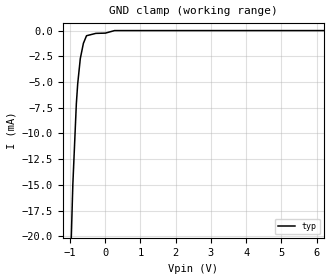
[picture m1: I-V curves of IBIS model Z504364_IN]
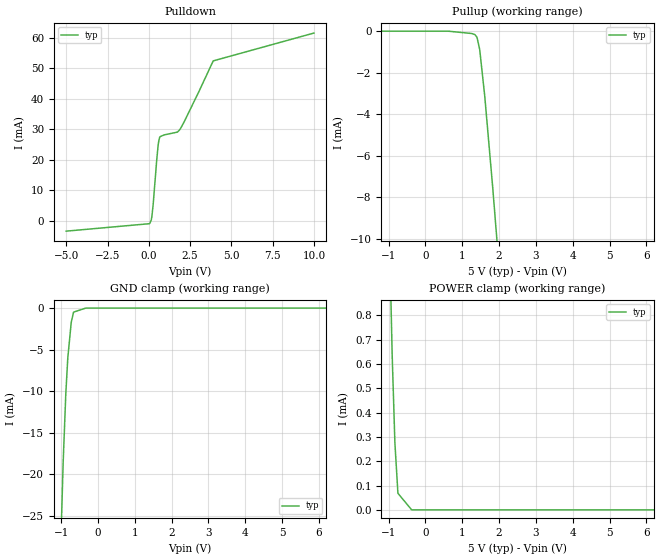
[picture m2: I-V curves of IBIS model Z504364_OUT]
| YOU ARE ONLY AUTHORIZED TO USE THIS SOFTWARE
| ACCORDING TO LICENSOR'S LICENSE RESTRICTIONS.
[IBIS Ver] 3.1
[File Name] sn54ls109aj.ibs
[File Rev] 2.0
[Source] Measured and created by ICX Technology
[Date] Friday 7/14/00 9:08:13 AM
[Copyright]
| (C) COPYRIGHT 1993-2000
| MENTOR GRAPHICS CORPORATION
| ICX STANDARD LIBRARY, ICX PROJECT MODELING,
| ICX CUSTOM MODELING, ICX VENDOR MODEL
| ALL RIGHTS RESERVED.
| THE FOLLOWING ARE TRADEMARKS OR SERVICE MARKS OF
| MENTOR GRAPHICS CORPORATION:ICX (R), ICX STANDARD
| LIBRARY(R), ICX PROJECT MODELING(R), ICX CUSTOM
| MODELING(R), qualityIBIS(TM), MODELVIEWER(TM),
| AND MODELEDITOR(TM)
| ALL COPIES OF SOFTWARE, INCLUDING BUT NOT LIMITED TO
| ANY MODIFICATIONS, ENHANCEMENTS OR DERIVATIVE WORKS,
| MUST CONTAIN ALL MENTOR GRAPHICS CORPORATION'S
| NOTICES AND LEGENDS, INCLUDING THOSE EMBEDDED IN
| SOFTWARE AND THOSE AFFIXED TO SOFTWARE MEDIUM
| AND CONTAINER, AS RECEIVED FROM MENTOR GRAPHICS
| CORPORATION.
|  ZAP Model Builder 2.7
[Component] SN54LS109AJ
[Manufacturer] OnSemiconductor
[Package]
| variable   typ   min   max
R_pkg  .212ohms NA NA
L_pkg  4.758nH NA NA
C_pkg  1.944pF NA NA
[Pin] signal_name  model_name  R_pin  L_pin C_pin
1 _CLR Z504364_IN .224 7.258n 2.683p
2 J Z504364_IN .216 5.258n 2.19p
3 _K Z504364_IN .208 3.758n 1.697p
4 CLK Z504364_IN .2 2.758n 1.204p
5 _PRE Z504364_IN .2 2.758n 1.204p
6 Q Z504364_OUT .208 3.758n 1.697p
7 _Q Z504364_OUT .216 5.258n 2.19p
8 GND GND .224 7.258n 2.683p
9 _Q Z504364_OUT .224 7.258n 2.683p
10 Q Z504364_OUT .216 5.258n 2.19p
11 _PRE Z504364_IN .208 3.758n 1.697p
12 CLK Z504364_IN .2 2.758n 1.204p
13 _K Z504364_IN .2 2.758n 1.204p
14 J Z504364_IN .208 3.758n 1.697p
15 _CLR Z504364_IN .216 5.258n 2.19p
16 VCC POWER .224 7.258n 2.683p
| Models and submodels in the file (2): Z504364_IN (Input), Z504364_OUT (Output)
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| (C) COPYRIGHT 1993-2000
| MENTOR GRAPHICS CORPORATION
| ICX STANDARD LIBRARY, ICX PROJECT MODELING,
| ICX CUSTOM MODELING, ICX VENDOR MODEL
| ALL RIGHTS RESERVED.
| THE FOLLOWING ARE TRADEMARKS OR SERVICE MARKS OF
| MENTOR GRAPHICS CORPORATION:ICX (R), ICX STANDARD
| LIBRARY(R), ICX PROJECT MODELING(R), ICX CUSTOM
| MODELING(R), qualityIBIS(TM), MODELVIEWER(TM),
| AND MODELEDITOR(TM)
| ALL COPIES OF SOFTWARE, INCLUDING BUT NOT LIMITED TO
| ANY MODIFICATIONS, ENHANCEMENTS OR DERIVATIVE WORKS,
| MUST CONTAIN ALL MENTOR GRAPHICS CORPORATION'S
| NOTICES AND LEGENDS, INCLUDING THOSE EMBEDDED IN
| SOFTWARE AND THOSE AFFIXED TO SOFTWARE MEDIUM
| AND CONTAINER, AS RECEIVED FROM MENTOR GRAPHICS
| CORPORATION.
| Model Application Version 1.89 2/18/99.
[Model] Z504364_IN
Model_type Input
Vinl = 800.0mV
Vinh = 2.000V
C_comp 4.000pF NA NA
| variable typ   min   max
[Voltage Range] 5.000V NA NA
[GND Clamp Reference] 0.000V NA NA
[POWER Clamp Reference] 5.000V NA NA
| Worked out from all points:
|   GND clamp passes 1 mA (typ) near -0.59 V on its own axis
[GND Clamp]
-5V       -494.6mA   NA         NA
-914.5mV  -14.95mA   NA         NA
-815.3mV  -7.111mA   NA         NA
-776.3mV  -5.149mA   NA         NA
-703mV    -2.719mA   NA         NA
-615.2mV  -1.234mA   NA         NA
-527.1mV  -500uA     NA         NA
-263.6mV  -270.2uA   NA         NA
9.918mV   -244.9uA   NA         NA
268.3mV   1.555uA    NA         NA
10V       1.555uA    NA         NA
[POWER Clamp]
-5V       0A         NA         NA
10V       0A         NA         NA
| (C) COPYRIGHT 1993-2000
| MENTOR GRAPHICS CORPORATION
| ICX STANDARD LIBRARY, ICX PROJECT MODELING,
| ICX CUSTOM MODELING, ICX VENDOR MODEL
| ALL RIGHTS RESERVED.
| THE FOLLOWING ARE TRADEMARKS OR SERVICE MARKS OF
| MENTOR GRAPHICS CORPORATION:ICX (R), ICX STANDARD
| LIBRARY(R), ICX PROJECT MODELING(R), ICX CUSTOM
| MODELING(R), qualityIBIS(TM), MODELVIEWER(TM),
| AND MODELEDITOR(TM)
| ALL COPIES OF SOFTWARE, INCLUDING BUT NOT LIMITED TO
| ANY MODIFICATIONS, ENHANCEMENTS OR DERIVATIVE WORKS,
| MUST CONTAIN ALL MENTOR GRAPHICS CORPORATION'S
| NOTICES AND LEGENDS, INCLUDING THOSE EMBEDDED IN
| SOFTWARE AND THOSE AFFIXED TO SOFTWARE MEDIUM
| AND CONTAINER, AS RECEIVED FROM MENTOR GRAPHICS
| CORPORATION.
| Model Application Version 1.89 2/18/99.
[Model] Z504364_OUT
Model_type Output
Vref=5.000V
Rref=2.000kohms
Cref=15.00pF
Vmeas=1.300V
C_comp 8.000pF NA NA
| variable typ   min   max
[Voltage Range] 5.000V NA NA
[POWER Clamp Reference] 5.000V NA NA
[Pullup Reference] 5.000V NA NA
[Pulldown Reference] 0.000V NA NA
[GND Clamp Reference] 0.000V NA NA
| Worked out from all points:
|   slope of the pulldown table from 0 to 0.75 V, typ, clamps not added: 26.1 ohm
|   slope of the pullup table from 0 to 0.75 V, typ, clamps not added: 34 kohm
|   GND clamp passes 1 mA (typ) near -0.69 V on its own axis
|   POWER clamp passes 1 mA (typ) near -0.96 V on its own axis
[GND Clamp]
-5V       -986.7mA   NA         NA
-1.147V   -54.7mA    NA         NA
-1.014V   -28.99mA   NA         NA
-947.3mV  -18.68mA   NA         NA
-873.9mV  -10.23mA   NA         NA
-820.3mV  -5.991mA   NA         NA
-727.5mV  -1.725mA   NA         NA
-664.1mV  -488.9uA   NA         NA
-332mV    0A         NA         NA
10V       0A         NA         NA
[Pulldown]
-5V       -3.457mA   NA         NA
68.44mV   -860.8uA   NA         NA
151.5mV   250.9uA    NA         NA
188.8mV   1.441mA    NA         NA
263.5mV   5.242mA    NA         NA
484.4mV   20.18mA    NA         NA
562.3mV   24.57mA    NA         NA
656.7mV   27.36mA    NA         NA
1.729V    29.08mA    NA         NA
1.929V    30.33mA    NA         NA
3.901V    52.49mA    NA         NA
10V       61.64mA    NA         NA
[Pullup]
-5V       11.71uA    NA         NA
625mV     11.71uA    NA         NA
1.26V     -100.3uA   NA         NA
1.343V    -152.9uA   NA         NA
1.401V    -286.1uA   NA         NA
1.474V    -873.8uA   NA         NA
1.611V    -3.126mA   NA         NA
1.825V    -7.487mA   NA         NA
10V       -189mA     NA         NA
[POWER Clamp]
-5V       31.92mA    NA         NA
-1.054V   1.647mA    NA         NA
-903mV    638.5uA    NA         NA
-829mV    276.3uA    NA         NA
-747mV    68.2uA     NA         NA
-373.5mV  0A         NA         NA
10V       0A         NA         NA
[Ramp]
| variable typ min max
dV/dt_r 1.866/9.535n NA NA
dV/dt_f 1.866/7.937n NA NA
R_load = 500.0Ohms
